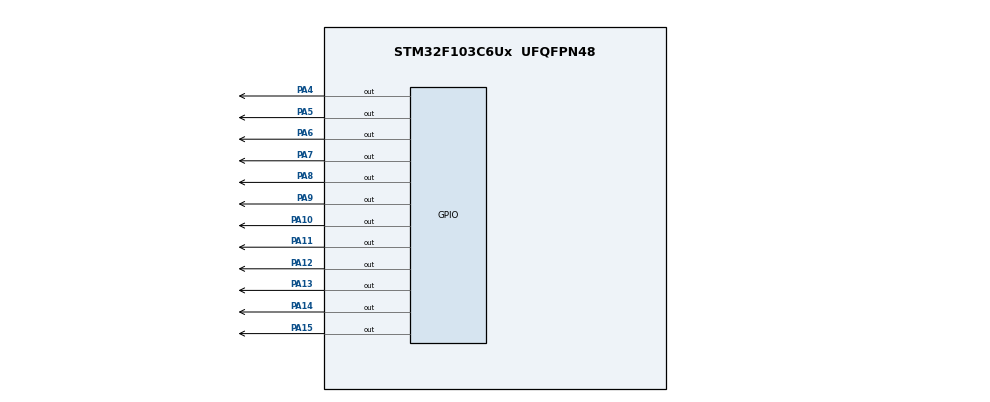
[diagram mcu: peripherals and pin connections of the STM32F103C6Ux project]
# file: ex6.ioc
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Mcu.Family=STM32F1
Mcu.Name=STM32F103C6Ux
Mcu.Package=UFQFPN48
NVIC.PriorityGroup=NVIC_PRIORITYGROUP_4
PA10.Signal=GPIO_Output
PA11.Signal=GPIO_Output
PA12.Signal=GPIO_Output
PA13.Signal=GPIO_Output
PA14.Signal=GPIO_Output
PA15.Signal=GPIO_Output
PA4.Signal=GPIO_Output
PA5.Signal=GPIO_Output
PA6.Signal=GPIO_Output
PA7.Signal=GPIO_Output
PA8.Signal=GPIO_Output
PA9.Signal=GPIO_Output
ProjectManager.HeapSize=0x200
ProjectManager.StackSize=0x400
ProjectManager.TargetToolchain=STM32CubeIDE
RCC.APB1Freq_Value=8000000
RCC.APB2Freq_Value=8000000
VP_SYS_VS_ND.Mode=No_Debug
board=custom

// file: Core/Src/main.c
/* USER CODE BEGIN Header */
/**
  ******************************************************************************
  * @file           : main.c
  * @brief          : Main program body - Exercise 10 (12-hour Mechanical Clock)
  ******************************************************************************
  */
/* USER CODE END Header */
#include "main.h"

/* Private variables --------------------------------------------------------- */

void SystemClock_Config(void);
static void MX_GPIO_Init(void);

/* Private user code --------------------------------------------------------- */
/* USER CODE BEGIN 0 */
void clearAllClock()
{
    HAL_GPIO_WritePin(GPIOA,
        GPIO_PIN_4|GPIO_PIN_5|GPIO_PIN_6|GPIO_PIN_7|
        GPIO_PIN_8|GPIO_PIN_9|GPIO_PIN_10|GPIO_PIN_11|
        GPIO_PIN_12|GPIO_PIN_13|GPIO_PIN_14|GPIO_PIN_15,
        GPIO_PIN_SET);
}

void setNumberOnClock(int num)
{
    if(num >= 0 && num <= 11)
    {
        HAL_GPIO_WritePin(GPIOA,
            (GPIO_PIN_4 << num),
            GPIO_PIN_RESET);
    }
}

void clearNumberOnClock(int num)
{

    if(num >=0 && num <=11)
    {

        HAL_GPIO_WritePin(GPIOA,
            (GPIO_PIN_4 << num),
            GPIO_PIN_SET);

    }

}

void displayClock(int hour, int minute, int second)
{
    clearAllClock();

    setNumberOnClock(hour % 12);

    setNumberOnClock(minute / 5);

    setNumberOnClock(second / 5);
}

/* USER CODE END 0 */

int hour = 0;
int minute = 0;
int second = 0;

int main(void)
{

  /* MCU Configuration--------------------------------------------------------*/

  /* Reset of all peripherals, Initializes the Flash interface and the Systick. */
  HAL_Init();

  /* Configure the system clock */
  SystemClock_Config();

  /* Initialize all configured peripherals */
  MX_GPIO_Init();

  /* Infinite loop */
  /* USER CODE BEGIN WHILE */
  while(1)
  {
      for(int hour = 0; hour < 12; hour++)
      {
          for(int minute = 0; minute < 60; minute++)
          {
              for(int second = 0; second < 60; second++)
              {
                  displayClock(hour, minute, second);

                  HAL_Delay(1000);
              }
          }
      }
  }
}
void SystemClock_Config(void)
{
  RCC_OscInitTypeDef RCC_OscInitStruct = {0};
  RCC_ClkInitTypeDef RCC_ClkInitStruct = {0};

  RCC_OscInitStruct.OscillatorType = RCC_OSCILLATORTYPE_HSI;
  RCC_OscInitStruct.HSIState = RCC_HSI_ON;
  RCC_OscInitStruct.HSICalibrationValue = RCC_HSICALIBRATION_DEFAULT;
  RCC_OscInitStruct.PLL.PLLState = RCC_PLL_NONE;
  if (HAL_RCC_OscConfig(&RCC_OscInitStruct) != HAL_OK)
  {
    Error_Handler();
  }

  RCC_ClkInitStruct.ClockType = RCC_CLOCKTYPE_HCLK|RCC_CLOCKTYPE_SYSCLK
                              |RCC_CLOCKTYPE_PCLK1|RCC_CLOCKTYPE_PCLK2;
  RCC_ClkInitStruct.SYSCLKSource = RCC_SYSCLKSOURCE_HSI;
  RCC_ClkInitStruct.AHBCLKDivider = RCC_SYSCLK_DIV1;
  RCC_ClkInitStruct.APB1CLKDivider = RCC_HCLK_DIV1;
  RCC_ClkInitStruct.APB2CLKDivider = RCC_HCLK_DIV1;

  if (HAL_RCC_ClockConfig(&RCC_ClkInitStruct, FLASH_LATENCY_0) != HAL_OK)
  {
    Error_Handler();
  }
}

static void MX_GPIO_Init(void)
{
  GPIO_InitTypeDef GPIO_InitStruct = {0};

  /* GPIO Ports Clock Enable */
  __HAL_RCC_GPIOA_CLK_ENABLE();

  /*Configure GPIO pin Output Level (Ban đầu tắt hết 12 LED - Active Low) */
  HAL_GPIO_WritePin(GPIOA, GPIO_PIN_4|GPIO_PIN_5|GPIO_PIN_6|GPIO_PIN_7
                          |GPIO_PIN_8|GPIO_PIN_9|GPIO_PIN_10|GPIO_PIN_11
                          |GPIO_PIN_12|GPIO_PIN_13|GPIO_PIN_14|GPIO_PIN_15, GPIO_PIN_SET);

  /*Configure GPIO pins : PA4 -> PA15 */
  GPIO_InitStruct.Pin = GPIO_PIN_4|GPIO_PIN_5|GPIO_PIN_6|GPIO_PIN_7
                          |GPIO_PIN_8|GPIO_PIN_9|GPIO_PIN_10|GPIO_PIN_11
                          |GPIO_PIN_12|GPIO_PIN_13|GPIO_PIN_14|GPIO_PIN_15;
  GPIO_InitStruct.Mode = GPIO_MODE_OUTPUT_PP;
  GPIO_InitStruct.Pull = GPIO_NOPULL;
  GPIO_InitStruct.Speed = GPIO_SPEED_FREQ_LOW;
  HAL_GPIO_Init(GPIOA, &GPIO_InitStruct);
}

void Error_Handler(void)
{
  __disable_irq();
  while (1)
  {
  }
}
